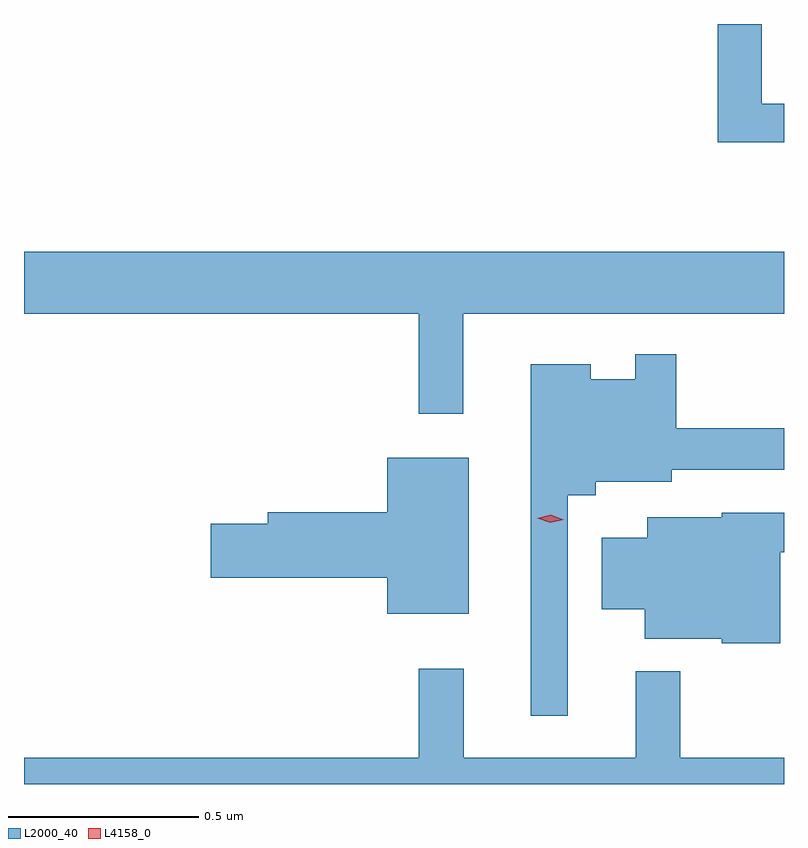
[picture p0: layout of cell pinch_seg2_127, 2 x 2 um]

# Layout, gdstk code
import gdstk
lib = gdstk.Library(unit=1e-6, precision=1e-09)
def P(c, l, *ps):  # polygons
    for p in ps: c.add(gdstk.Polygon(p, *l))
L2000_40 = (2000, 40)
L4158_0 = (4158, 0)

pinch_seg2_127 = lib.new_cell('pinch_seg2_127')
P(pinch_seg2_127, L2000_40, [(1067.72,626.877),(1067.661,626.877),(1067.661,627.087),(1067.545,627.087),(1067.545,626.776),(1067.72,626.776)],
  [(1066.876,626.324),(1067.72,626.324),(1067.72,626.488),(1065.72,626.488),(1065.72,626.324),(1066.759,626.324),(1066.759,626.061),(1066.876,626.061)],
  [(1067.151,625.847),(1067.225,625.847),(1067.225,625.883),(1067.425,625.883),(1067.425,625.914),(1067.72,625.914),(1067.72,626.023),(1067.437,626.023),(1067.437,626.218),(1067.328,626.218),(1067.328,626.152),(1067.212,626.152),(1067.212,626.191),(1067.054,626.191),(1067.054,625.266),(1067.151,625.266)],
  [(1066.891,625.945),(1066.676,625.945),(1066.676,625.802),(1066.361,625.802),(1066.361,625.772),(1066.212,625.772),(1066.212,625.63),(1066.676,625.63),(1066.676,625.535),(1066.891,625.535)],
  [(1067.71,625.697),(1067.72,625.697),(1067.72,625.801),(1067.556,625.801),(1067.556,625.789),(1067.36,625.789),(1067.36,625.735),(1067.24,625.735),(1067.24,625.547),(1067.354,625.547),(1067.354,625.469),(1067.556,625.469),(1067.556,625.457),(1067.71,625.457)],
  [(1067.72,625.156),(1067.447,625.156),(1067.447,625.384),(1067.33,625.384),(1067.33,625.156),(1066.877,625.156),(1066.877,625.39),(1066.759,625.39),(1066.759,625.156),(1065.72,625.156),(1065.72,625.087),(1067.72,625.087)])
P(pinch_seg2_127, L4158_0, [(1067.105,625.775),(1067.071,625.787),(1067.07,625.787),(1067.071,625.787),(1067.106,625.795),(1067.141,625.783),(1067.141,625.783),(1067.141,625.783)])

lib.write_gds('pinch_seg2_127.gds')
